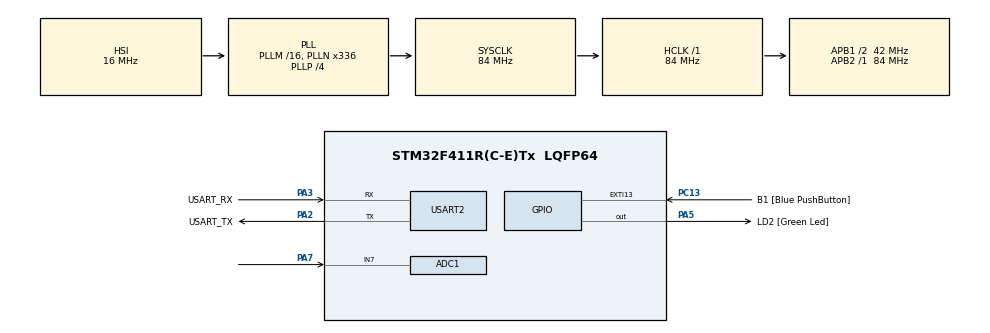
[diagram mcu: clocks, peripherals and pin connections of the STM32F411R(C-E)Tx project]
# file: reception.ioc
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ADC1.Channel-0\#ChannelRegularConversion=ADC_CHANNEL_7
ADC1.ContinuousConvMode=ENABLE
ADC1.DMAContinuousRequests=ENABLE
ADC1.NbrOfConversionFlag=1
ADC1.Rank-0\#ChannelRegularConversion=1
ADC1.SamplingTime-0\#ChannelRegularConversion=ADC_SAMPLETIME_3CYCLES
ADC1.master=1
Dma.ADC1.0.Direction=DMA_PERIPH_TO_MEMORY
Dma.ADC1.0.FIFOMode=DMA_FIFOMODE_DISABLE
Dma.ADC1.0.Instance=DMA2_Stream0
Dma.ADC1.0.MemDataAlignment=DMA_MDATAALIGN_HALFWORD
Dma.ADC1.0.MemInc=DMA_MINC_ENABLE
Dma.ADC1.0.Mode=DMA_CIRCULAR
Dma.ADC1.0.PeriphDataAlignment=DMA_PDATAALIGN_HALFWORD
Dma.ADC1.0.PeriphInc=DMA_PINC_DISABLE
Dma.ADC1.0.Priority=DMA_PRIORITY_LOW
Dma.Request0=ADC1
Mcu.Family=STM32F4
Mcu.Name=STM32F411R(C-E)Tx
Mcu.Package=LQFP64
NVIC.DMA2_Stream0_IRQn=true\:0\:0\:false\:false\:true\:false\:true\:true
NVIC.PriorityGroup=NVIC_PRIORITYGROUP_0
PA13.GPIO_Label=TMS
PA13.Mode=Serial_Wire
PA13.Signal=SYS_JTMS-SWDIO
PA14.GPIO_Label=TCK
PA14.Mode=Serial_Wire
PA14.Signal=SYS_JTCK-SWCLK
PA2.GPIO_Label=USART_TX
PA2.Mode=Asynchronous
PA2.Signal=USART2_TX
PA3.GPIO_Label=USART_RX
PA3.Mode=Asynchronous
PA3.Signal=USART2_RX
PA5.GPIO_Label=LD2 [Green Led]
PA5.Signal=GPIO_Output
PA7.Signal=ADCx_IN7
PB3.GPIO_Label=SWO
PB3.Signal=SYS_JTDO-SWO
PC13-ANTI_TAMP.GPIO_Label=B1 [Blue PushButton]
PC13-ANTI_TAMP.GPIO_ModeDefaultEXTI=GPIO_MODE_IT_FALLING
PC13-ANTI_TAMP.Signal=GPXTI13
PC14-OSC32_IN.Mode=LSE-External-Oscillator
PC14-OSC32_IN.Signal=RCC_OSC32_IN
PC15-OSC32_OUT.Mode=LSE-External-Oscillator
PC15-OSC32_OUT.Signal=RCC_OSC32_OUT
PH0\ -\ OSC_IN.Mode=HSE-External-Clock-Source
PH0\ -\ OSC_IN.Signal=RCC_OSC_IN
PH1\ -\ OSC_OUT.Mode=HSE-External-Clock-Source
PH1\ -\ OSC_OUT.Signal=RCC_OSC_OUT
ProjectManager.HeapSize=0x200
ProjectManager.StackSize=0x400
ProjectManager.TargetToolchain=STM32CubeIDE
RCC.48MHZClocksFreq_Value=84000000
RCC.AHBFreq_Value=84000000
RCC.APB1CLKDivider=RCC_HCLK_DIV2
RCC.APB1Freq_Value=42000000
RCC.APB1TimFreq_Value=84000000
RCC.APB2Freq_Value=84000000
RCC.APB2TimFreq_Value=84000000
RCC.CortexFreq_Value=84000000
RCC.FLatency-AdvancedSettings=FLASH_LATENCY_2
RCC.HCLKFreq_Value=84000000
RCC.HSE_VALUE=8000000
RCC.HSI_VALUE=16000000
RCC.PLLN=336
RCC.PLLP=RCC_PLLP_DIV4
RCC.SYSCLKFreq_VALUE=84000000
RCC.SYSCLKSource=RCC_SYSCLKSOURCE_PLLCLK
RCC.VCOOutputFreq_Value=336000000
SH.ADCx_IN7.0=ADC1_IN7,IN7
USART2.VirtualMode=VM_ASYNC
board=NUCLEO-F411RE

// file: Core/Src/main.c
/* USER CODE BEGIN Header */
/**
  ******************************************************************************
  * @file           : main.c
  * @brief          : Main program body
  ******************************************************************************
  * @attention
  *
  * Copyright (c) 2024 STMicroelectronics.
  * All rights reserved.
  *
  * This software is licensed under terms that can be found in the LICENSE file
  * in the root directory of this software component.
  * If no LICENSE file comes with this software, it is provided AS-IS.
  *
  ******************************************************************************
  */
/* USER CODE END Header */
#include "main.h"

/* USER CODE BEGIN Includes */
#include "math.h"
#include "stdint.h"
#include "stdio.h"
#include "stdlib.h"
#include "string.h"
/* USER CODE END Includes */

/* USER CODE BEGIN PD */
#define ADC_BUF_LEN 4096
#define MSG_BUF_LEN 140	//264
#define THRESHOLD 4
#define ZERO_LEN 100
#define FILTER_SIZE 7
#define NB_MAX_MSG 16

#define FC 40000 // Carrier frequency in Hz
#define DUREE 100e-6 // duration in seconds
#define NB_SAMPLES 140 // number of point for a 100 microseconds signal
#define SYMBOL_LEN 35 // number of sample needed to represent a full symbol
#define NB_SYM_SEQ 8 // number of maximal symbol in an half of a 4096 buffer for 8-bit communication at 40kHz

#define NB_SYM 4
/* USER CODE END PD */

ADC_HandleTypeDef hadc1;
DMA_HandleTypeDef hdma_adc1;

UART_HandleTypeDef huart2;

/* USER CODE BEGIN PV */
uint16_t adc_buf[ADC_BUF_LEN];
uint16_t msg_buf[MSG_BUF_LEN];
uint16_t msg_buf2[MSG_BUF_LEN];
uint16_t index_msg[NB_MAX_MSG];
uint16_t msgs_buffers[NB_SYM_SEQ][MSG_BUF_LEN];

/* USER CODE END PV */

void SystemClock_Config(void);
static void MX_GPIO_Init(void);
static void MX_DMA_Init(void);
static void MX_USART2_UART_Init(void);
static void MX_ADC1_Init(void);

/* USER CODE BEGIN 0 */
//float trainingseq[] = {992, 992, 992, 992, 992, 992, 992, 992, 992, 1985, 1985, 1985, 1985, 1985, 1985, 1985, 1985, 992, 992, 992, 992, 992, 992, 992, 992, 0, 0, 0, 0, 0, 0, 0, 0, 992, 992, 992, 992, 992, 992, 992, 992, 992, 1985, 1985, 1985, 1985, 1985, 1985, 1985, 1985, 992, 992, 992, 992, 992, 992, 992, 992, 0, 0, 0, 0, 0, 0, 0, 0};
float trainingseq[] = {1985, 1985, 1985, 1985, 992, 992, 992, 992, 992, 992, 992, 992, 992, 992, 992, 0, 0, 0, 0, 0, 0, 0, 0, 0, 0, 992, 992, 992, 992, 992, 992, 992, 992, 992, 992, 992, 992, 1985, 1985, 1985, 1985, 1985, 1985, 1985, 1985, 1985, 1985, 1985, 992, 992, 992, 992, 992, 992, 992, 992, 992, 992, 0, 0, 0, 0, 0, 0, 0, 0, 992, 992, 992, 992, 0, 0, 0, 0, 0, 0, 0, 0, 0, 0, 0, 992, 992, 992, 992, 992, 992, 992, 992, 992, 992, 1985, 1985, 1985, 1985, 1985, 1985, 1985, 1985, 0, 0, 0, 0, 992, 992, 992, 992, 992, 992, 992, 992, 992, 992, 992, 1985, 1985, 1985, 1985, 1985, 1985, 1985, 1985, 1985, 1985, 992, 992, 992, 992, 992, 992, 992, 992};
int traininglen = 132;
int correla=0;

float Tmsg[NB_SAMPLES]; // Time list
float Lsin[NB_SAMPLES]; // List of cosinus values for a 100 microseconds signal
float Lcos[NB_SAMPLES];
float I[NB_SAMPLES];
float Q[NB_SAMPLES];
float tI[NB_SYM_SEQ][NB_SAMPLES];
float tQ[NB_SYM_SEQ][NB_SAMPLES];
float IntegI[NB_SYM];
float IntegQ[NB_SYM];
float tIntegI[NB_SYM_SEQ][NB_SYM];
float tIntegQ[NB_SYM_SEQ][NB_SYM];
char msg_halfbuffer[NB_SYM_SEQ][2*NB_SYM]; // place where we will store the decoded messages

/* USER CODE END 0 */

int main(void)
{

  /* USER CODE BEGIN 1 */
  float interval = DUREE / (NB_SAMPLES - 1);

  for (int i = 0; i < NB_SAMPLES; i++) {
          Tmsg[i] = i * interval;
          Lsin[i] = sin(2 * M_PI * FC * Tmsg[i]);
          Lcos[i] = cos(2 * M_PI * FC * Tmsg[i]);
      } // à changer avec des listes de valeurs dejà determinées faites sur python (pb sur la flexibilité du code)

  /* USER CODE END 1 */

  /* MCU Configuration--------------------------------------------------------*/

  /* Reset of all peripherals, Initializes the Flash interface and the Systick. */
  HAL_Init();

  /* Configure the system clock */
  SystemClock_Config();

  /* Initialize all configured peripherals */
  MX_GPIO_Init();
  MX_DMA_Init();
  MX_USART2_UART_Init();
  MX_ADC1_Init();
  /* USER CODE BEGIN 2 */
  HAL_ADC_Start_DMA(&hadc1, (uint32_t*)adc_buf, ADC_BUF_LEN);
  /* USER CODE END 2 */

  /* Infinite loop */
  while (1)
  {

  }
}

void SystemClock_Config(void)
{
  RCC_OscInitTypeDef RCC_OscInitStruct = {0};
  RCC_ClkInitTypeDef RCC_ClkInitStruct = {0};

  /** Configure the main internal regulator output voltage
  */
  __HAL_RCC_PWR_CLK_ENABLE();
  __HAL_PWR_VOLTAGESCALING_CONFIG(PWR_REGULATOR_VOLTAGE_SCALE1);

  /** Initializes the RCC Oscillators according to the specified parameters
  * in the RCC_OscInitTypeDef structure.
  */
  RCC_OscInitStruct.OscillatorType = RCC_OSCILLATORTYPE_HSI;
  RCC_OscInitStruct.HSIState = RCC_HSI_ON;
  RCC_OscInitStruct.HSICalibrationValue = RCC_HSICALIBRATION_DEFAULT;
  RCC_OscInitStruct.PLL.PLLState = RCC_PLL_ON;
  RCC_OscInitStruct.PLL.PLLSource = RCC_PLLSOURCE_HSI;
  RCC_OscInitStruct.PLL.PLLM = 16;
  RCC_OscInitStruct.PLL.PLLN = 336;
  RCC_OscInitStruct.PLL.PLLP = RCC_PLLP_DIV4;
  RCC_OscInitStruct.PLL.PLLQ = 4;
  if (HAL_RCC_OscConfig(&RCC_OscInitStruct) != HAL_OK)
  {
    Error_Handler();
  }

  /** Initializes the CPU, AHB and APB buses clocks
  */
  RCC_ClkInitStruct.ClockType = RCC_CLOCKTYPE_HCLK|RCC_CLOCKTYPE_SYSCLK
                              |RCC_CLOCKTYPE_PCLK1|RCC_CLOCKTYPE_PCLK2;
  RCC_ClkInitStruct.SYSCLKSource = RCC_SYSCLKSOURCE_PLLCLK;
  RCC_ClkInitStruct.AHBCLKDivider = RCC_SYSCLK_DIV1;
  RCC_ClkInitStruct.APB1CLKDivider = RCC_HCLK_DIV2;
  RCC_ClkInitStruct.APB2CLKDivider = RCC_HCLK_DIV1;

  if (HAL_RCC_ClockConfig(&RCC_ClkInitStruct, FLASH_LATENCY_2) != HAL_OK)
  {
    Error_Handler();
  }
}

static void MX_ADC1_Init(void)
{

  ADC_ChannelConfTypeDef sConfig = {0};

  /** Configure the global features of the ADC (Clock, Resolution, Data Alignment and number of conversion)
  */
  hadc1.Instance = ADC1;
  hadc1.Init.ClockPrescaler = ADC_CLOCK_SYNC_PCLK_DIV4;
  hadc1.Init.Resolution = ADC_RESOLUTION_12B;
  hadc1.Init.ScanConvMode = DISABLE;
  hadc1.Init.ContinuousConvMode = ENABLE;
  hadc1.Init.DiscontinuousConvMode = DISABLE;
  hadc1.Init.ExternalTrigConvEdge = ADC_EXTERNALTRIGCONVEDGE_NONE;
  hadc1.Init.ExternalTrigConv = ADC_SOFTWARE_START;
  hadc1.Init.DataAlign = ADC_DATAALIGN_RIGHT;
  hadc1.Init.NbrOfConversion = 1;
  hadc1.Init.DMAContinuousRequests = ENABLE;
  hadc1.Init.EOCSelection = ADC_EOC_SINGLE_CONV;
  if (HAL_ADC_Init(&hadc1) != HAL_OK)
  {
    Error_Handler();
  }

  /** Configure for the selected ADC regular channel its corresponding rank in the sequencer and its sample time.
  */
  sConfig.Channel = ADC_CHANNEL_7;
  sConfig.Rank = 1;
  sConfig.SamplingTime = ADC_SAMPLETIME_3CYCLES;
  if (HAL_ADC_ConfigChannel(&hadc1, &sConfig) != HAL_OK)
  {
    Error_Handler();
  }

}

static void MX_USART2_UART_Init(void)
{

  huart2.Instance = USART2;
  huart2.Init.BaudRate = 115200;
  huart2.Init.WordLength = UART_WORDLENGTH_8B;
  huart2.Init.StopBits = UART_STOPBITS_1;
  huart2.Init.Parity = UART_PARITY_NONE;
  huart2.Init.Mode = UART_MODE_TX_RX;
  huart2.Init.HwFlowCtl = UART_HWCONTROL_NONE;
  huart2.Init.OverSampling = UART_OVERSAMPLING_16;
  if (HAL_UART_Init(&huart2) != HAL_OK)
  {
    Error_Handler();
  }

}

static void MX_DMA_Init(void)
{

  /* DMA controller clock enable */
  __HAL_RCC_DMA2_CLK_ENABLE();

  /* DMA interrupt init */
  /* DMA2_Stream0_IRQn interrupt configuration */
  HAL_NVIC_SetPriority(DMA2_Stream0_IRQn, 0, 0);
  HAL_NVIC_EnableIRQ(DMA2_Stream0_IRQn);

}

static void MX_GPIO_Init(void)
{
  GPIO_InitTypeDef GPIO_InitStruct = {0};

  /* GPIO Ports Clock Enable */
  __HAL_RCC_GPIOC_CLK_ENABLE();
  __HAL_RCC_GPIOH_CLK_ENABLE();
  __HAL_RCC_GPIOA_CLK_ENABLE();
  __HAL_RCC_GPIOB_CLK_ENABLE();

  /*Configure GPIO pin Output Level */
  HAL_GPIO_WritePin(LD2_GPIO_Port, LD2_Pin, GPIO_PIN_RESET);

  /*Configure GPIO pin : B1_Pin */
  GPIO_InitStruct.Pin = B1_Pin;
  GPIO_InitStruct.Mode = GPIO_MODE_IT_FALLING;
  GPIO_InitStruct.Pull = GPIO_NOPULL;
  HAL_GPIO_Init(B1_GPIO_Port, &GPIO_InitStruct);

  /*Configure GPIO pin : LD2_Pin */
  GPIO_InitStruct.Pin = LD2_Pin;
  GPIO_InitStruct.Mode = GPIO_MODE_OUTPUT_PP;
  GPIO_InitStruct.Pull = GPIO_NOPULL;
  GPIO_InitStruct.Speed = GPIO_SPEED_FREQ_LOW;
  HAL_GPIO_Init(LD2_GPIO_Port, &GPIO_InitStruct);

}

/* USER CODE BEGIN 4 */

//void find_training_sequence_and_copy(uint16_t *buffer, int buffer_length, float *training_sequence, int training_length, uint16_t *new_buffer, int new_buffer_length) {
//    int max_corr = 0;
//    int index = -1;
//
//    for (int i = 0; i <= buffer_length - training_length; i++) {
//        double corr = 0;
//        for (int j = 0; j < training_length; j++) {
////            float normalized_adc_value = (buffer[i + j] / 4096.0) * 3.3; // Normalise la valeur ADC à [0, 3.3]
////            corr += (normalized_adc_value * training_sequence[j]);
//            corr += (buffer[i +j] * training_sequence[j]);
//
//        }
//
//        if (corr > max_corr && corr > THRESHOLD) {
//            max_corr = corr;
//            index = i;
//        }
//    }
//
//    if (index != -1 && index + new_buffer_length <= buffer_length) {
//        for (int k = 0; k < new_buffer_length; k++) {
//            new_buffer[k] = buffer[index + k];
//        }
//    }
//    correla = max_corr ;
//}
//
//void find_training_sequence_and_copy2(uint16_t *buffer, int buffer_length, float *training_sequence, int training_length, uint16_t *new_buffer, int new_buffer_length) {
//    int min_corr = 100000000;
//    int index = -1;
//
//    for (int i = 0; i <= buffer_length - training_length; i++) {
//        double corr = 0;
//        for (int j = 0; j < training_length; j++) {
////            float normalized_adc_value = (buffer[i + j] / 4096.0) * 3.3; // Normalise la valeur ADC à [0, 3.3]
////            corr += (normalized_adc_value * training_sequence[j]);
//            corr += (buffer[i +j] - training_sequence[j])*(buffer[i +j] - training_sequence[j]);
//
//        }
//
//        if (corr < min_corr) {
//            min_corr = corr;
//            index = i;
//        }
//    }
//
//    if (index != -1 && index + new_buffer_length <= buffer_length) {
//        for (int k = 0; k < new_buffer_length; k++) {
//            new_buffer[k] = buffer[index + k];
//        }
//    }
//    correla = min_corr ;
//}
//
//void calcul_correl(uint16_t *buffer, int buffer_length, float *training_seq, int training_length, double *correlation){
//	for (int i=0; i <= buffer_length-training_length;i++){
//		double sum = 0;
//		for (int j=0; j < training_length; j++){
//			sum += buffer[i+j]*training_seq[j];
//		}
//		correlation[i]=sum;
//	}
//}

//void find_training_sequence(uint16_t *buffer, int buffer_length, float *training_seq, int training_length, uint16_t *new_buffer, int new_buffer_length){
//	double correlation[buffer_length-training_length + 1];
//	calcul_correl(buffer, buffer_length, training_seq, training_length, correlation);
//
//	double max_correlation = correlation[0];
//	int max_correlation_index = 0;
//	for (int i=1; i <= buffer_length-training_length; i++){
//		if (correlation[i] > max_correlation){
//			max_correlation = correlation[i];
//			max_correlation_index = i;
//		}
//	}
//	correla = max_correlation;
//
//	if (max_correlation_index != -1 && max_correlation_index + new_buffer_length <= buffer_length) {
//	        for (int k = 0; k < new_buffer_length; k++) {
//	            new_buffer[k] = buffer[max_correlation_index + k];
//	        }
//	    }

//	if (max_correlation > THRESHOLD){
//
//		return max_correlation_index;
//	}
//	else {
//		return -1;
//	}
//}

void find_zero(uint16_t *buffer, int buffer_length, uint16_t *new_buffer, int new_buffer_length, int indxstart){
	int zero_cnt = 0;
	int index = 0;
	int msg_cnt = 0;

	for (int i=0 + indxstart; i < buffer_length + indxstart; i++){ // Due to the ping-pong buffering method we only use half of the ADC buffer
		if (buffer[i] < 200){
			zero_cnt ++;
			if (zero_cnt > ZERO_LEN){ // if the sequence of zeros is long enough
				index = i - zero_cnt + 1; // find beginning of the sequence
				index_msg[msg_cnt]=index; // record the index of the beginning of this sequence
				msg_cnt ++; // add 1 to the message counter
				zero_cnt = 0; // reset the counter of zeros
				i = index+264; // advance to the next message since we know where the message begin and where its length
				if (i >= buffer_length + indxstart)
					i = buffer_length;
				if (index + new_buffer_length <= buffer_length + indxstart && msg_cnt < 8) { // copies the message in the msg_buffer
					for (int k = 0; k < new_buffer_length; k++) {
						msgs_buffers[msg_cnt][k] = buffer[index + 132 + k];
						}
					}
			}
		}
		else {
			zero_cnt = 0;
		}
	}
	correla = index;

	if (index + new_buffer_length <= buffer_length + indxstart) { // copies the message in the msg_buffer
		for (int k = 0; k < new_buffer_length; k++) {
			new_buffer[k] = buffer[index + 132 + k];

		}
	}
}

double trapz(double *y, double dx, int n) { // trapeze method for integration with dx=100/132=0,757 microseconds (time gap between two points)
    double integ = 0.0;
    for (int i = 0; i < n - 1; i++) {
        integ += (y[i] + y[i+1]) * dx / 2.0;
    }
    return integ;
}

void integ(float *IQ, float *integIQ){
	int cpt=0;
	for (int i = 0; i < MSG_BUF_LEN; i += SYMBOL_LEN) {
		double integrale = 0;
	    double sing_symb[33];
	    for (int j=0; j<33; j++){
	    	sing_symb[j]=IQ[i+j];
	    }
	    integrale = trapz(sing_symb, 0.757e-6, SYMBOL_LEN);
	    integIQ[cpt] = integrale;
	    cpt += 1;
	}
}

void  decision(){ // decision block
	for (int k=1; k < NB_SYM_SEQ; k++){
		char sym_dec[3];
		char msg_dec[2*NB_SYM];
		for (int l = 0; l < NB_SYM; l++){
			if (tIntegI[k][l] < 0 && tIntegQ[k][l] < 0)
				strcpy(sym_dec,"00");
			if (tIntegI[k][l] < 0 && tIntegQ[k][l] > 0)
				strcpy(sym_dec, "10");
			if (tIntegI[k][l] > 0 && tIntegQ[k][l] > 0)
				strcpy(sym_dec, "11");
			if (tIntegI[k][l] > 0 && tIntegQ[k][l] < 0)
				strcpy(sym_dec, "01");
			if (l > 0)
				strcat(msg_dec, sym_dec);
			else
				strcpy(msg_dec, sym_dec);
		}
		strcpy(msg_halfbuffer[k],msg_dec);
	}
}
void demod_sig(uint16_t *buffer, int buffer_length, uint16_t *new_buffer, int new_buffer_length, int indxstart){

	find_zero(buffer, buffer_length, new_buffer, new_buffer_length, indxstart);
	for (int i=0; i < new_buffer_length; i++){
			I[i]= (new_buffer[i]-1000)*Lcos[i]; // In-Phase signal with a 0V centered signal (may not be necessary given the signal)
			Q[i]= (new_buffer[i]-1000)*Lsin[i]; // Quadrature signal with a 0V centered signal
		}
	integ(I, IntegI);
	integ(Q, IntegQ);

}

void demod_sig2(uint16_t *buffer, int buffer_length, uint16_t *new_buffer, int new_buffer_length, int indxstart){

	find_zero(buffer, buffer_length, new_buffer, new_buffer_length, indxstart);
	for (int k=1; k < NB_SYM_SEQ; k++){
		for (int i=0; i < new_buffer_length; i++){
					tI[k][i]= (msgs_buffers[k][i]-1300)*Lcos[i]; // In-Phase signal with a 0V centered signal (may not be necessary given the signal)
					tQ[k][i]= (msgs_buffers[k][i]-1300)*Lsin[i]; // Quadrature signal with a 0V centered signal
				}
		integ(tI[k], tIntegI[k]);
		integ(tQ[k], tIntegQ[k]);
	}
}

void HAL_ADC_ConvHalfCpltCallback(ADC_HandleTypeDef* hadc)
{
	HAL_GPIO_WritePin(LD2_GPIO_Port, LD2_Pin, GPIO_PIN_SET);
//	find_training_sequence_and_copy2(adc_buf, ADC_BUF_LEN, trainingseq, traininglen, msg_buf, MSG_BUF_LEN);
//	find_training_sequence(adc_buf, ADC_BUF_LEN, trainingseq, traininglen, msg_buf, MSG_BUF_LEN);
//	find_zero(adc_buf, ADC_BUF_LEN, msg_buf, MSG_BUF_LEN);
	demod_sig2(adc_buf, ADC_BUF_LEN/2, msg_buf, MSG_BUF_LEN, 0); // fonctionne sur tout le buffer => à changer
	decision();
}

void HAL_ADC_ConvCpltCallback(ADC_HandleTypeDef* hadc)
{
	HAL_GPIO_WritePin(LD2_GPIO_Port, LD2_Pin, GPIO_PIN_RESET);
//	find_training_sequence_and_copy2(adc_buf, ADC_BUF_LEN,trainingseq, traininglen, msg_buf, MSG_BUF_LEN);
//	find_training_sequence(adc_buf, ADC_BUF_LEN, trainingseq, traininglen, msg_buf, MSG_BUF_LEN);
//	find_zero(adc_buf, ADC_BUF_LEN, msg_buf, MSG_BUF_LEN);
	demod_sig2(adc_buf, ADC_BUF_LEN/2, msg_buf, MSG_BUF_LEN, ADC_BUF_LEN/2);
	decision();
}

/* USER CODE END 4 */

void Error_Handler(void)
{
  __disable_irq();
  while (1)
  {
  }
}
